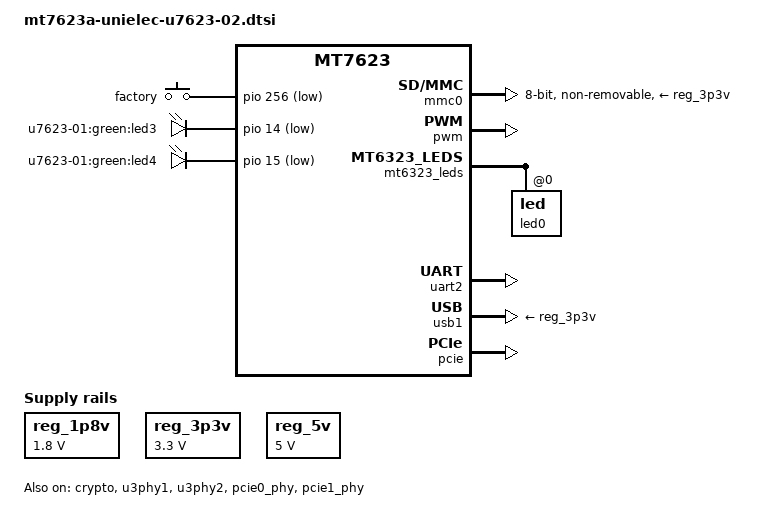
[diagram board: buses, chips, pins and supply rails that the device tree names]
// SPDX-License-Identifier: (GPL-2.0-or-later OR MIT)
/*
 * Copyright 2018 Kristian Evensen <kristian.evensen@gmail.com>
 */

#include <dt-bindings/input/input.h>
#include "mt7623a.dtsi"
#include "mt6323.dtsi"

/ {
	compatible = "unielec,u7623-02", "mediatek,mt7623";

	aliases {
		serial0 = &uart2;
		ethernet0 = &gmac0;
		mmc0 = &mmc0;
		led-boot = &led3_green;
		led-failsafe = &led3_green;
		led-running = &led3_green;
		led-upgrade = &led3_green;
	};

	chosen {
		stdout-path = "serial0:115200n8";
	};

	cpus {
		cpu@0 {
			proc-supply = <&mt6323_vproc_reg>;
		};

		cpu@1 {
			proc-supply = <&mt6323_vproc_reg>;
		};

		cpu@2 {
			proc-supply = <&mt6323_vproc_reg>;
		};

		cpu@3 {
			proc-supply = <&mt6323_vproc_reg>;
		};
	};

	reg_1p8v: regulator-1p8v {
		compatible = "regulator-fixed";
		regulator-name = "fixed-1.8V";
		regulator-min-microvolt = <1800000>;
		regulator-max-microvolt = <1800000>;
		regulator-boot-on;
		regulator-always-on;
	};

	reg_3p3v: regulator-3p3v {
		compatible = "regulator-fixed";
		regulator-name = "fixed-3.3V";
		regulator-min-microvolt = <3300000>;
		regulator-max-microvolt = <3300000>;
		regulator-boot-on;
		regulator-always-on;
	};

	reg_5v: regulator-5v {
		compatible = "regulator-fixed";
		regulator-name = "fixed-5V";
		regulator-min-microvolt = <5000000>;
		regulator-max-microvolt = <5000000>;
		regulator-boot-on;
		regulator-always-on;
	};

	keys {
		compatible = "gpio-keys";
		pinctrl-names = "default";
		pinctrl-0 = <&key_pins_a>;

		factory {
			label = "factory";
			linux,code = <KEY_RESTART>;
			gpios = <&pio 256 GPIO_ACTIVE_LOW>;
		};
	};

	leds {
		compatible = "gpio-leds";
		pinctrl-names = "default";
		pinctrl-0 = <&led_pins_unielec>;

		led3_green: led3 {
			label = "u7623-01:green:led3";
			gpios = <&pio 14 GPIO_ACTIVE_LOW>;
		};

		led4 {
			label = "u7623-01:green:led4";
			gpios = <&pio 15 GPIO_ACTIVE_LOW>;
		};
	};
};

&crypto {
	status = "okay";
};

&mmc0 {
	#address-cells = <1>;
	#size-cells = <0>;
	pinctrl-names = "default", "state_uhs";
	pinctrl-0 = <&mmc0_pins_default>;
	pinctrl-1 = <&mmc0_pins_uhs>;
	status = "okay";
	bus-width = <8>;
	max-frequency = <50000000>;
	cap-mmc-highspeed;
	vmmc-supply = <&reg_3p3v>;
	vqmmc-supply = <&reg_1p8v>;
	non-removable;
};

&pio {
	key_pins_a: keys-alt {
		pins-keys {
			pinmux = <MT7623_PIN_256_GPIO256_FUNC_GPIO256>;
			input-enable;
		};
	};

	led_pins_unielec: leds-unielec {
		pins-leds {
			pinmux = <MT7623_PIN_14_GPIO14_FUNC_GPIO14>,
				 <MT7623_PIN_15_GPIO15_FUNC_GPIO15>;
		};
	};
};

&pwm {
	pinctrl-names = "default";
	pinctrl-0 = <&pwm_pins_a>;
	status = "okay";
};

&mt6323_leds {
	status = "okay";

	led@0 {
		reg = <0>;
		label = "led0";
	};
};

&mt6323keys {
	mediatek,long-press-mode = <0>;
};

&switch0 {
	ports {
		port@0 {
			status = "okay";
			label = "lan0";
		};

		port@1 {
			status = "okay";
			label = "lan1";
		};

		port@2 {
			status = "okay";
			label = "lan2";
		};

		port@3 {
			status = "okay";
			label = "lan3";
		};

		port@4 {
			status = "okay";
			label = "wan";
		};
	};
};

&uart2 {
	pinctrl-names = "default";
	pinctrl-0 = <&uart2_pins_b>;
	status = "okay";
};

&usb1 {
	vusb33-supply = <&reg_3p3v>;
	vbus-supply = <&reg_3p3v>;
	status = "okay";
};

&u3phy1 {
	status = "okay";
};

&u3phy2 {
	status = "okay";
	mediatek,phy-switch = <&hifsys>;
};

&pcie {
	pinctrl-names = "default";
	pinctrl-0 = <&pcie_default>;
	status = "okay";

	pcie@0,0 {
		status = "okay";
	};

	pcie@1,0 {
		status = "okay";
	};

	pcie@2,0 {
		status = "okay";
	};
};

&pcie0_phy {
	status = "okay";
};

&pcie1_phy {
	status = "okay";
};

